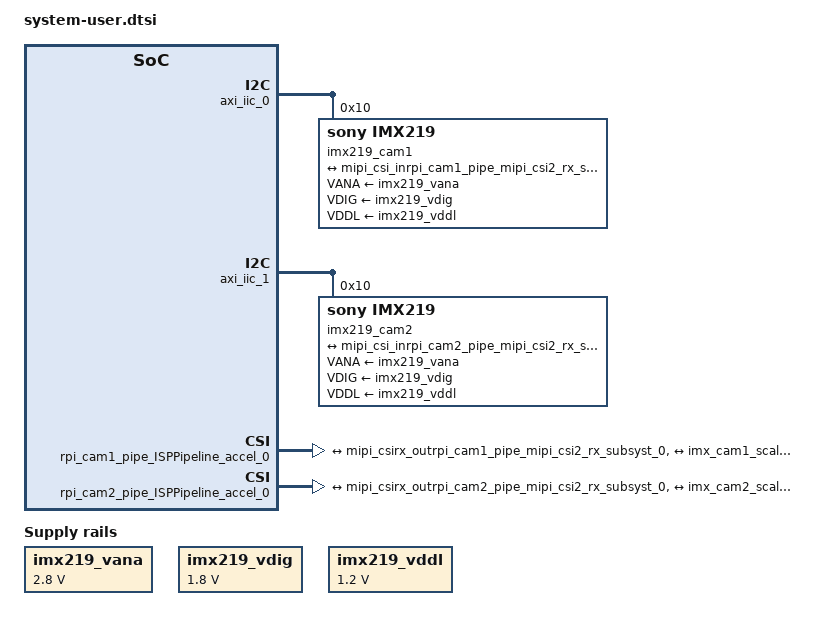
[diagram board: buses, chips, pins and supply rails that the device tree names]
/include/ "system-conf.dtsi"

/ {
	chosen {
		xlnx,eeprom = "/axi/i2c@ff030000/i2c-mux@74/i2c@0/eeprom@54";
		bootargs = " earlycon console=ttyPS0,115200 clk_ignore_unused init_fatal_sh=1 cma=1000M";
		stdout-path = "serial0:115200n8";
	};
};


&fpga_full {
	#address-cells = <2>;
	#size-cells = <2>;
	firmware-name = "system.bit.bin";
	resets = <&zynqmp_reset 116>, <&zynqmp_reset 117>, <&zynqmp_reset 118>, <&zynqmp_reset 119>;
};

&amba_pl {
	afi0: afi0 {
		compatible = "xlnx,afi-fpga";
		config-afi = <0 0>, <1 0>, <2 0>, <3 0>, <4 1>, <5 1>, <6 0>, <7 0>, <8 1>, <9 1>, <10 2>, <11 2>, <12 2>, <13 2>, <14 0x0>, <15 0x000>;
	};

	clocking0: clocking0 {
		#clock-cells = <0>;
		assigned-clock-rates = <99999001>;
		assigned-clocks = <&zynqmp_clk 71>;
		clock-output-names = "fabric_clk";
		clocks = <&zynqmp_clk 71>;
		compatible = "xlnx,fclk";
	};

	/*
	clocking1: clocking1 {
		#clock-cells = <0>;
		assigned-clock-rates = <99999001>;
		assigned-clocks = <&zynqmp_clk 72>;
		clock-output-names = "fabric_clk";
		clocks = <&zynqmp_clk 72>;
		compatible = "xlnx,fclk";
	};
	*/

	imx219_clk: imx219_clk {
		#clock-cells = <0x0>;
		clock-frequency = <24000000>;
		compatible = "fixed-clock";
	};


	imx219_vana: fixedregulator@3 {
		compatible = "regulator-fixed";
		regulator-name = "imx219_vana";
		regulator-min-microvolt = <2800000>;
		regulator-max-microvolt = <2800000>;
		enable-active-high;
	};

	imx219_vdig: fixedregulator@4 {
		compatible = "regulator-fixed";
		regulator-name = "imx219_vdig";
		regulator-min-microvolt = <1800000>;
		regulator-max-microvolt = <1800000>;
	};

	imx219_vddl: fixedregulator@5 {
		compatible = "regulator-fixed";
		regulator-name = "imx219_vddl";
		regulator-min-microvolt = <1200000>;
		regulator-max-microvolt = <1200000>;
	};
	
	/* zocl */
	zyxclmm_drm {
		compatible = "xlnx,zocl";
		status = "okay";
		interrupt-parent = <&gic>;
		interrupts = <0 89  4>, <0 90  4>, <0 91  4>, <0 92  4>,
			     <0 93  4>, <0 94  4>, <0 95  4>, <0 96  4>;
	};
};

&axi_iic_0 {
	imx219_cam1: sensor@10 {
		compatible = "sony,imx219";
		reg = <0x10>;
		clocks = <&imx219_clk>;
		VANA-supply = <&imx219_vana>;   /* 2.8v */
		VDIG-supply = <&imx219_vdig>;   /* 1.8v */
		VDDL-supply = <&imx219_vddl>;   /* 1.2v */

		port {
		     imx219_cam1_0: endpoint {
			remote-endpoint = <&mipi_csi_inrpi_cam1_pipe_mipi_csi2_rx_subsyst_0>;
			data-lanes = <1 2>;
			link-frequencies = /bits/ 64 <456000000>;
			};
		};
	};
};

&axi_iic_1 {
	imx219_cam2: sensor@10 {
		compatible = "sony,imx219";
		reg = <0x10>;
		clocks = <&imx219_clk>;
		VANA-supply = <&imx219_vana>;   /* 2.8v */
		VDIG-supply = <&imx219_vdig>;   /* 1.8v */
		VDDL-supply = <&imx219_vddl>;   /* 1.2v */

		port {
		     imx219_cam2_0: endpoint {
			remote-endpoint = <&mipi_csi_inrpi_cam2_pipe_mipi_csi2_rx_subsyst_0>;
			data-lanes = <1 2>;
			link-frequencies = /bits/ 64 <456000000>;
			};
		};
	};
};

&rpi_cam1_pipe_mipi_csi2_rx_subsyst_0 {
	xlnx,en-active-lanes;
};

&rpi_cam2_pipe_mipi_csi2_rx_subsyst_0 {
	xlnx,en-active-lanes;
};

&mipi_csi_inrpi_cam1_pipe_mipi_csi2_rx_subsyst_0 {
	remote-endpoint = <&imx219_cam1_0>;
};

&mipi_csi_inrpi_cam2_pipe_mipi_csi2_rx_subsyst_0 {
	remote-endpoint = <&imx219_cam2_0>;
};

&rpi_cam1_pipe_ISPPipeline_accel_0 {
	compatible = "xlnx,ISPPipeline_accel";
	reset-gpios = <&gpio 82 1>;
	xlnx,max-height = <1080>;
	xlnx,max-width = <1920>;
	xlnx,rgain = <128>;
	xlnx,bgain = <210>;
	xlnx,pawb = <350>;
	xlnx,mode-reg = <1>;
	ports {
		#address-cells = <1>;
		#size-cells = <0>;
			port@0 {
			reg = <0>;
			xlnx,video-width = <10>;
			xlnx,cfa-pattern = "rggb";
				rpi_cam1_pipe_ISPPipeline_accel_0rpi_cam1_pipe_mipi_csi2_rx_subsyst_0: endpoint {
				remote-endpoint = <&mipi_csirx_outrpi_cam1_pipe_mipi_csi2_rx_subsyst_0>;
			};
		};
			port@1 {
			reg = <1>;
			xlnx,video-width = <8>;
			xlnx,cfa-pattern = "rggb";
			
			imx_cam1_demosaic_out: endpoint {
				remote-endpoint = <&imx_cam1_scaler_in>;
			};
		};
	};
};

&rpi_cam2_pipe_ISPPipeline_accel_0 {
	compatible = "xlnx,ISPPipeline_accel";
	reset-gpios = <&gpio 85 1>;
	xlnx,max-height = <1080>;
	xlnx,max-width = <1920>;
	xlnx,rgain = <128>;
	xlnx,bgain = <210>;
	xlnx,pawb = <350>;
	xlnx,mode-reg = <1>;
	ports {
		#address-cells = <1>;
		#size-cells = <0>;
			port@0 {
			reg = <0>;
			xlnx,video-width = <10>;
			xlnx,cfa-pattern = "rggb";
				rpi_cam2_pipe_ISPPipeline_accel_0rpi_cam2_pipe_mipi_csi2_rx_subsyst_0: endpoint {
				remote-endpoint = <&mipi_csirx_outrpi_cam2_pipe_mipi_csi2_rx_subsyst_0>;
			};
		};
			port@1 {
			reg = <1>;
			xlnx,video-width = <8>;
			xlnx,cfa-pattern = "rggb";
			
			imx_cam2_demosaic_out: endpoint {
				remote-endpoint = <&imx_cam2_scaler_in>;
			};
		};
	};
};

&rpi_cam1_pipe_v_proc_ss_0 {
	compatible = "xlnx,v-vpss-scaler-2.2";
};

&rpi_cam2_pipe_v_proc_ss_0 {
	compatible = "xlnx,v-vpss-scaler-2.2";
};

&scaler_port0rpi_cam1_pipe_v_proc_ss_0 {
	imx_cam1_scaler_in: endpoint {
		remote-endpoint = <&imx_cam1_demosaic_out>;
	};
};

&scaler_port0rpi_cam2_pipe_v_proc_ss_0 {
	imx_cam2_scaler_in: endpoint {
		remote-endpoint = <&imx_cam2_demosaic_out>;
	};
};


